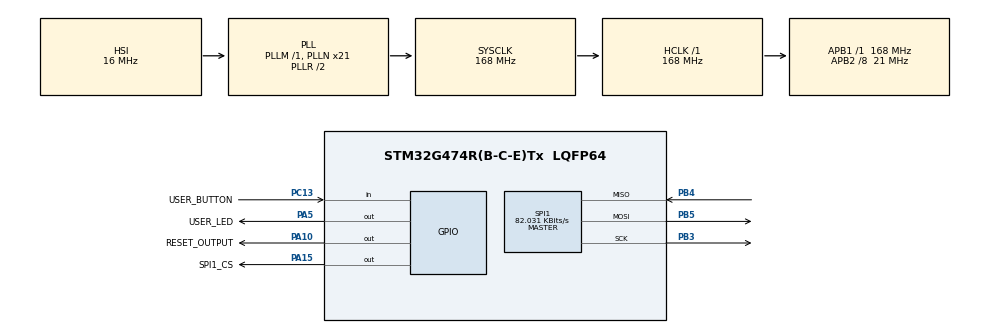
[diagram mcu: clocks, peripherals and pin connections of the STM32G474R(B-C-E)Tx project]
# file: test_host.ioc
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Mcu.Family=STM32G4
Mcu.Name=STM32G474R(B-C-E)Tx
Mcu.Package=LQFP64
NVIC.PriorityGroup=NVIC_PRIORITYGROUP_4
PA10.GPIO_Label=RESET_OUTPUT
PA10.Signal=GPIO_Output
PA15.GPIO_Label=SPI1_CS
PA15.PinState=GPIO_PIN_SET
PA15.Signal=GPIO_Output
PA5.GPIO_Label=USER_LED
PA5.Signal=GPIO_Output
PB3.GPIO_Speed=GPIO_SPEED_FREQ_VERY_HIGH
PB3.Mode=Full_Duplex_Master
PB3.Signal=SPI1_SCK
PB4.GPIO_Speed=GPIO_SPEED_FREQ_VERY_HIGH
PB4.Mode=Full_Duplex_Master
PB4.Signal=SPI1_MISO
PB5.GPIO_Speed=GPIO_SPEED_FREQ_VERY_HIGH
PB5.Mode=Full_Duplex_Master
PB5.Signal=SPI1_MOSI
PC13.GPIO_Label=USER_BUTTON
PC13.GPIO_PuPd=GPIO_PULLDOWN
PC13.Signal=GPIO_Input
PF0-OSC_IN.Mode=HSE-External-Oscillator
PF0-OSC_IN.Signal=RCC_OSC_IN
PF1-OSC_OUT.Mode=HSE-External-Oscillator
PF1-OSC_OUT.Signal=RCC_OSC_OUT
ProjectManager.HeapSize=0x200
ProjectManager.StackSize=0x400
ProjectManager.TargetToolchain=STM32CubeIDE
RCC.ADC12Freq_Value=168000000
RCC.ADC345Freq_Value=168000000
RCC.AHBFreq_Value=168000000
RCC.APB1Freq_Value=168000000
RCC.APB1TimFreq_Value=168000000
RCC.APB2CLKDivider=RCC_HCLK_DIV8
RCC.APB2Freq_Value=21000000
RCC.APB2TimFreq_Value=42000000
RCC.CortexFreq_Value=168000000
RCC.EXTERNAL_CLOCK_VALUE=12288000
RCC.HCLKFreq_Value=168000000
RCC.HSE_VALUE=24000000
RCC.HSI48_VALUE=48000000
RCC.HSI_VALUE=16000000
RCC.LSE_VALUE=32768
RCC.PLLN=21
RCC.SYSCLKFreq_VALUE=168000000
RCC.SYSCLKSource=RCC_SYSCLKSOURCE_PLLCLK
RCC.USBFreq_Value=168000000
RCC.VCOOutputFreq_Value=336000000
SPI1.BaudRatePrescaler=SPI_BAUDRATEPRESCALER_256
SPI1.CalculateBaudRate=82.031 KBits/s
SPI1.DataSize=SPI_DATASIZE_8BIT
SPI1.Direction=SPI_DIRECTION_2LINES
SPI1.Mode=SPI_MODE_MASTER
SPI1.VirtualType=VM_MASTER
VP_SYS_VS_DBSignals.Mode=DisableDeadBatterySignals
board=custom

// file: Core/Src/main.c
/* USER CODE BEGIN Header */
/**
  ******************************************************************************
  * @file           : main.c
  * @brief          : Main program body
  ******************************************************************************
  * @attention
  *
  * Copyright (c) 2024 STMicroelectronics.
  * All rights reserved.
  *
  * This software is licensed under terms that can be found in the LICENSE file
  * in the root directory of this software component.
  * If no LICENSE file comes with this software, it is provided AS-IS.
  *
  ******************************************************************************
  */
/* USER CODE END Header */
#include "main.h"

/* USER CODE BEGIN Includes */
#include "fpga_interface.h"

/* USER CODE END Includes */

SPI_HandleTypeDef hspi1;

void SystemClock_Config(void);
static void MX_GPIO_Init(void);
static void MX_SPI1_Init(void);

int main(void)
{

  /* USER CODE BEGIN 1 */
  uint8_t registerValue = 0;

  /* USER CODE END 1 */

  /* MCU Configuration--------------------------------------------------------*/

  /* Reset of all peripherals, Initializes the Flash interface and the Systick. */
  HAL_Init();

  /* Configure the system clock */
  SystemClock_Config();

  /* Initialize all configured peripherals */
  MX_GPIO_Init();
  MX_SPI1_Init();

  /* Infinite loop */
  /* USER CODE BEGIN WHILE */
  Reset_FPGA();

  while (1)
  {
    if (HAL_GPIO_ReadPin(USER_BUTTON_GPIO_Port, USER_BUTTON_Pin) == GPIO_PIN_SET)
    {HAL_GPIO_WritePin(USER_LED_GPIO_Port, USER_LED_Pin, GPIO_PIN_RESET);
      Set_Register(&hspi1,
                   0x400, /* TODO: define register map */
                   1); /* TODO: define values */
    }
    else
    {
      Set_Register(&hspi1,
                   0x400, /* TODO: define register map */
                   0); /* TODO: define values */
    }

    Read_Register(&hspi1,
                  0x0, /* TODO: define register map */
                  &registerValue);

    if (registerValue != 0)
    {
      // The LED is switched on when the PIN is set to ground
      HAL_GPIO_WritePin(USER_LED_GPIO_Port, USER_LED_Pin, GPIO_PIN_RESET);
    }
    else
    {
      HAL_GPIO_WritePin(USER_LED_GPIO_Port, USER_LED_Pin, GPIO_PIN_SET);
    }

    HAL_Delay(1);

    /* USER CODE END WHILE */

  }
}

void SystemClock_Config(void)
{
  RCC_OscInitTypeDef RCC_OscInitStruct = {0};
  RCC_ClkInitTypeDef RCC_ClkInitStruct = {0};

  /** Configure the main internal regulator output voltage
  */
  HAL_PWREx_ControlVoltageScaling(PWR_REGULATOR_VOLTAGE_SCALE1_BOOST);

  /** Initializes the RCC Oscillators according to the specified parameters
  * in the RCC_OscInitTypeDef structure.
  */
  RCC_OscInitStruct.OscillatorType = RCC_OSCILLATORTYPE_HSI;
  RCC_OscInitStruct.HSIState = RCC_HSI_ON;
  RCC_OscInitStruct.HSICalibrationValue = RCC_HSICALIBRATION_DEFAULT;
  RCC_OscInitStruct.PLL.PLLState = RCC_PLL_ON;
  RCC_OscInitStruct.PLL.PLLSource = RCC_PLLSOURCE_HSI;
  RCC_OscInitStruct.PLL.PLLM = RCC_PLLM_DIV1;
  RCC_OscInitStruct.PLL.PLLN = 21;
  RCC_OscInitStruct.PLL.PLLP = RCC_PLLP_DIV2;
  RCC_OscInitStruct.PLL.PLLQ = RCC_PLLQ_DIV2;
  RCC_OscInitStruct.PLL.PLLR = RCC_PLLR_DIV2;
  if (HAL_RCC_OscConfig(&RCC_OscInitStruct) != HAL_OK)
  {
    Error_Handler();
  }

  /** Initializes the CPU, AHB and APB buses clocks
  */
  RCC_ClkInitStruct.ClockType = RCC_CLOCKTYPE_HCLK|RCC_CLOCKTYPE_SYSCLK
                              |RCC_CLOCKTYPE_PCLK1|RCC_CLOCKTYPE_PCLK2;
  RCC_ClkInitStruct.SYSCLKSource = RCC_SYSCLKSOURCE_PLLCLK;
  RCC_ClkInitStruct.AHBCLKDivider = RCC_SYSCLK_DIV1;
  RCC_ClkInitStruct.APB1CLKDivider = RCC_HCLK_DIV1;
  RCC_ClkInitStruct.APB2CLKDivider = RCC_HCLK_DIV8;

  if (HAL_RCC_ClockConfig(&RCC_ClkInitStruct, FLASH_LATENCY_4) != HAL_OK)
  {
    Error_Handler();
  }
}

static void MX_SPI1_Init(void)
{

  /* SPI1 parameter configuration*/
  hspi1.Instance = SPI1;
  hspi1.Init.Mode = SPI_MODE_MASTER;
  hspi1.Init.Direction = SPI_DIRECTION_2LINES;
  hspi1.Init.DataSize = SPI_DATASIZE_8BIT;
  hspi1.Init.CLKPolarity = SPI_POLARITY_LOW;
  hspi1.Init.CLKPhase = SPI_PHASE_1EDGE;
  hspi1.Init.NSS = SPI_NSS_SOFT;
  hspi1.Init.BaudRatePrescaler = SPI_BAUDRATEPRESCALER_256;
  hspi1.Init.FirstBit = SPI_FIRSTBIT_MSB;
  hspi1.Init.TIMode = SPI_TIMODE_DISABLE;
  hspi1.Init.CRCCalculation = SPI_CRCCALCULATION_DISABLE;
  hspi1.Init.CRCPolynomial = 7;
  hspi1.Init.CRCLength = SPI_CRC_LENGTH_DATASIZE;
  hspi1.Init.NSSPMode = SPI_NSS_PULSE_ENABLE;
  if (HAL_SPI_Init(&hspi1) != HAL_OK)
  {
    Error_Handler();
  }

}

static void MX_GPIO_Init(void)
{
  GPIO_InitTypeDef GPIO_InitStruct = {0};

  /* GPIO Ports Clock Enable */
  __HAL_RCC_GPIOC_CLK_ENABLE();
  __HAL_RCC_GPIOF_CLK_ENABLE();
  __HAL_RCC_GPIOA_CLK_ENABLE();
  __HAL_RCC_GPIOB_CLK_ENABLE();

  /*Configure GPIO pin Output Level */
  HAL_GPIO_WritePin(GPIOA, USER_LED_Pin|RESET_OUTPUT_Pin, GPIO_PIN_RESET);

  /*Configure GPIO pin Output Level */
  HAL_GPIO_WritePin(SPI1_CS_GPIO_Port, SPI1_CS_Pin, GPIO_PIN_SET);

  /*Configure GPIO pin : USER_BUTTON_Pin */
  GPIO_InitStruct.Pin = USER_BUTTON_Pin;
  GPIO_InitStruct.Mode = GPIO_MODE_INPUT;
  GPIO_InitStruct.Pull = GPIO_PULLDOWN;
  HAL_GPIO_Init(USER_BUTTON_GPIO_Port, &GPIO_InitStruct);

  /*Configure GPIO pins : USER_LED_Pin RESET_OUTPUT_Pin SPI1_CS_Pin */
  GPIO_InitStruct.Pin = USER_LED_Pin|RESET_OUTPUT_Pin|SPI1_CS_Pin;
  GPIO_InitStruct.Mode = GPIO_MODE_OUTPUT_PP;
  GPIO_InitStruct.Pull = GPIO_NOPULL;
  GPIO_InitStruct.Speed = GPIO_SPEED_FREQ_LOW;
  HAL_GPIO_Init(GPIOA, &GPIO_InitStruct);

}

void Error_Handler(void)
{
  __disable_irq();
  while (1)
  {
  }
}
